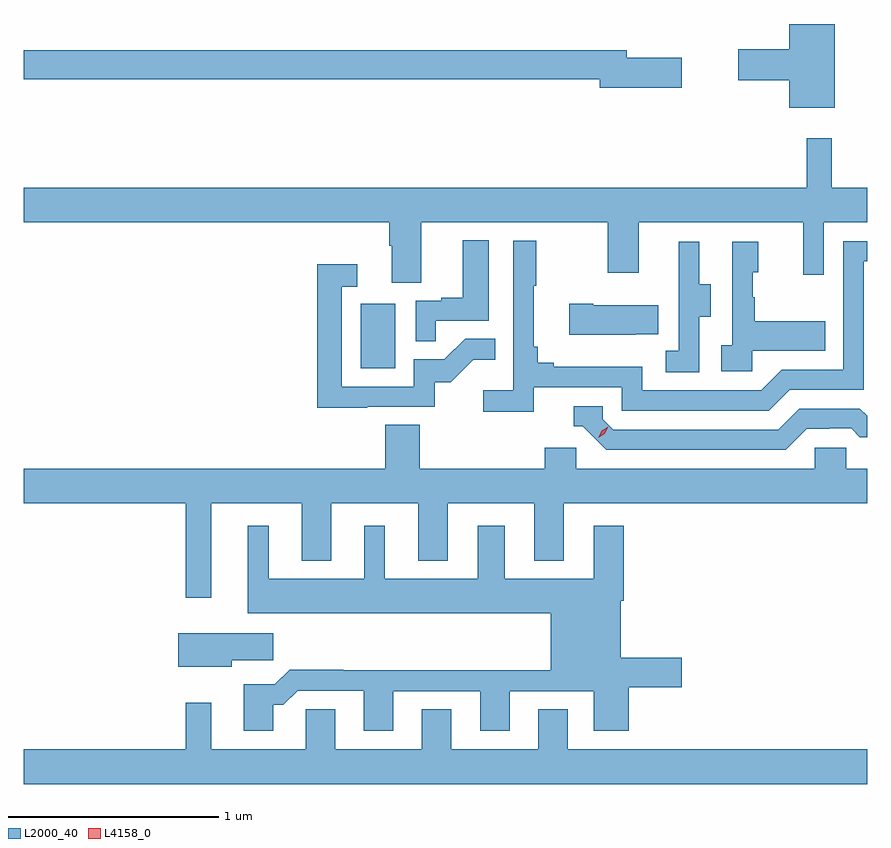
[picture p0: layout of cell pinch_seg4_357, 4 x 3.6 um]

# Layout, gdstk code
import gdstk
lib = gdstk.Library(unit=1e-6, precision=1e-09)
def R(c, l, rs):  # rectangles x0, y0, x1, y1
    for r in rs: c.add(gdstk.rectangle(r[:2], r[2:], *l))
def P(c, l, *ps):  # polygons
    for p in ps: c.add(gdstk.Polygon(p, *l))
L2000_40 = (2000, 40)
L4158_0 = (4158, 0)

pinch_seg4_357 = lib.new_cell('pinch_seg4_357')
R(pinch_seg4_357, L2000_40, [(964.742,792.132,964.906,792.439)])
P(pinch_seg4_357, L2000_40, [(966.991,793.765),(966.776,793.765),(966.776,793.646),(966.534,793.646),(966.534,793.499),(966.776,793.499),(966.776,793.367),(966.991,793.367)],
  [(966.265,793.604),(966.004,793.604),(966.004,793.64),(963.145,793.64),(963.145,793.504),(965.876,793.504),(965.876,793.462),(966.265,793.462)],
  [(965.029,792.824),(965.914,792.824),(965.914,792.585),(966.061,792.585),(966.061,792.824),(966.842,792.824),(966.842,792.576),(966.939,792.576),(966.939,792.824),(967.145,792.824),(967.145,792.988),(966.977,792.988),(966.977,793.222),(966.859,793.222),(966.859,792.988),(963.145,792.988),(963.145,792.824),(964.877,792.824),(964.877,792.712),(964.889,792.712),(964.889,792.538),(965.029,792.538)],
  [(965.099,792.357),(965.35,792.357),(965.35,792.739),(965.228,792.739),(965.228,792.466),(965.125,792.466),(965.125,792.453),(965.004,792.453),(965.004,792.259),(965.099,792.259)],
  [(965.564,792.042),(965.982,792.042),(965.982,791.931),(966.679,791.931),(966.778,792.03),(967.128,792.03),(967.128,792.639),(967.145,792.639),(967.145,792.735),(967.032,792.735),(967.032,792.126),(966.741,792.126),(966.642,792.027),(966.078,792.027),(966.078,792.139),(965.659,792.139),(965.659,792.158),(965.582,792.158),(965.582,792.235),(965.563,792.235),(965.563,792.523),(965.575,792.523),(965.575,792.736),(965.466,792.736),(965.466,792.028),(965.325,792.028),(965.325,791.926),(965.564,791.926)],
  [(966.6,792.215),(966.947,792.215),(966.947,792.355),(966.613,792.355),(966.613,792.47),(966.603,792.47),(966.603,792.588),(966.628,792.588),(966.628,792.733),(966.504,792.733),(966.504,792.242),(966.453,792.242),(966.453,792.117),(966.6,792.117)],
  [(966.348,792.376),(966.403,792.376),(966.403,792.531),(966.349,792.531),(966.349,792.733),(966.251,792.733),(966.251,792.519),(966.252,792.519),(966.252,792.215),(966.189,792.215),(966.189,792.112),(966.348,792.112)],
  [(964.775,791.949),(965.094,791.949),(965.094,792.066),(965.17,792.066),(965.277,792.173),(965.381,792.173),(965.381,792.272),(965.238,792.272),(965.14,792.174),(964.995,792.174),(964.995,792.045),(964.653,792.045),(964.653,792.519),(964.726,792.519),(964.726,792.625),(964.537,792.625),(964.537,791.944),(964.775,791.944)],
  [(966.047,792.293),(966.155,792.293),(966.155,792.43),(965.845,792.43),(965.845,792.438),(965.733,792.438),(965.733,792.29),(966.047,792.29)],
  [(966.859,791.844),(966.966,791.844),(966.966,791.847),(967.069,791.847),(967.111,791.805),(967.145,791.805),(967.145,791.906),(967.111,791.94),(966.822,791.94),(966.723,791.841),(965.94,791.841),(965.892,791.889),(965.892,791.952),(965.753,791.952),(965.753,791.856),(965.796,791.856),(965.907,791.745),(966.76,791.745)],
  [(964.033,791.492),(964.463,791.492),(964.463,791.219),(964.603,791.219),(964.603,791.492),(965.015,791.492),(965.015,791.219),(965.155,791.219),(965.155,791.492),(965.567,791.492),(965.567,791.219),(965.707,791.219),(965.707,791.492),(967.145,791.492),(967.145,791.656),(967.047,791.656),(967.047,791.754),(966.897,791.754),(966.897,791.656),(965.766,791.656),(965.766,791.754),(965.615,791.754),(965.615,791.656),(965.024,791.656),(965.024,791.864),(964.859,791.864),(964.859,791.656),(963.145,791.656),(963.145,791.492),(963.912,791.492),(963.912,791.043),(964.033,791.043)],
  [(964.327,790.535),(964.376,790.535),(964.443,790.602),(964.757,790.602),(964.757,790.413),(964.897,790.413),(964.897,790.599),(965.309,790.599),(965.309,790.413),(965.449,790.413),(965.449,790.599),(965.849,790.599),(965.849,790.413),(966.014,790.413),(966.014,790.618),(966.265,790.618),(966.265,790.76),(965.977,790.76),(965.977,791.03),(965.99,791.03),(965.99,791.386),(965.849,791.386),(965.849,791.134),(965.425,791.134),(965.425,791.386),(965.297,791.386),(965.297,791.134),(964.858,791.134),(964.858,791.386),(964.76,791.386),(964.76,791.134),(964.306,791.134),(964.306,791.386),(964.208,791.386),(964.208,790.97),(965.645,790.97),(965.645,790.7),(964.661,790.7),(964.661,790.703),(964.406,790.703),(964.336,790.633),(964.187,790.633),(964.187,790.413),(964.327,790.413)],
  [(964.132,790.747),(964.327,790.747),(964.327,790.876),(963.878,790.876),(963.878,790.715),(964.132,790.715)],
  [(967.145,790.324),(965.725,790.324),(965.725,790.514),(965.585,790.514),(965.585,790.324),(965.173,790.324),(965.173,790.514),(965.033,790.514),(965.033,790.324),(964.621,790.324),(964.621,790.514),(964.482,790.514),(964.482,790.324),(964.033,790.324),(964.033,790.546),(963.912,790.546),(963.912,790.324),(963.145,790.324),(963.145,790.16),(967.145,790.16)])
P(pinch_seg4_357, L4158_0, [(965.869,791.802),(965.869,791.803),(965.886,791.835),(965.916,791.855),(965.916,791.855),(965.916,791.854),(965.9,791.822),(965.87,791.802)])

lib.write_gds('pinch_seg4_357.gds')
